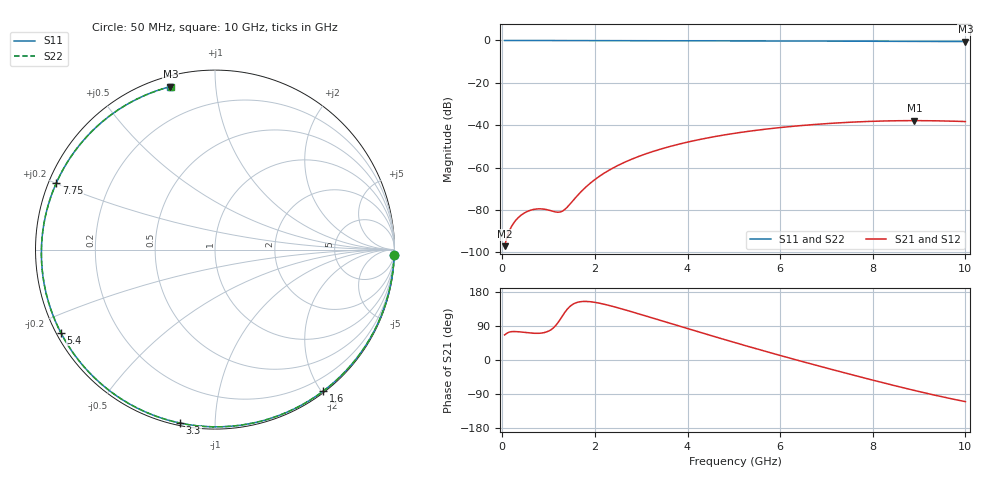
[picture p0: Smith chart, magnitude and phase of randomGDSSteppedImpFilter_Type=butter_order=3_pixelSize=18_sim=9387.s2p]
! freq	dB(S11)	phase(S11)	dB(S12)	phase(S12)
!  dB(S21)	phase(S21)	dB(S22)	phase(S22)
!S-par simulation data
#  GHz  S  DB  R 50
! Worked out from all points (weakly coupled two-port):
!   200 points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, 50 MHz to 10 GHz, reference 50 ohm
!   highest |S21| = -37.82 dB at 8.9 GHz (marker M1); lowest = -97.0 dB at 50 MHz (marker M2)
!   lowest |S11| = -0.5 dB at 10 GHz (marker M3), VSWR 33.05, Z = 2.39 + j38.1 ohm
!   |S11| at or under -10 dB: nowhere
!   |S22| runs from -0.5 to 0.0 dB; largest |S21 - S12| = 0
!   S11 on the Smith chart (normalised r, x): 50 MHz: 2, -70; 1.6 GHz: 0.02, -2.02; 3.3 GHz: 0.01, -0.82; 5.4 GHz: 0.01, -0.25; 7.75 GHz: 0.02, +0.20; 10 GHz: 0.05, +0.76
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0.05  -0.01 -1.6  -97.03 66.2  -97.03 66.2  -0.01 -1.6
0.65  -0.03 -21.9  -79.83 70.8  -79.83 70.8  -0.03 -21.9
0.8  -0.03 -26.9  -79.42 70.5  -79.42 70.5  -0.03 -26.9
1.3  -0.05 -43.2  -80.49 116.6  -80.49 116.6  -0.05 -43.2
1.4  -0.06 -46.4  -78.70 133.7  -78.70 133.7  -0.06 -46.4
1.6  -0.07 -52.6  -73.71 151.3  -73.71 151.3  -0.07 -52.6
1.75  -0.07 -57.3  -70.26 154.5  -70.26 154.5  -0.07 -57.3
2.05  -0.08 -66.4  -64.79 151.0  -64.79 151.0  -0.08 -66.4
2.4  -0.09 -76.7  -60.06 141.0  -60.06 141.0  -0.09 -76.7
2.8  -0.11 -87.9  -55.95 127.1  -55.95 127.1  -0.11 -87.9
3.3  -0.12 -101.4  -52.04 108.8  -52.04 108.8  -0.12 -101.4
3.4  -0.13 -104.0  -51.37 105.1  -51.37 105.1  -0.13 -104.0
4.25  -0.16 -125.2  -46.77 73.8  -46.77 73.8  -0.16 -125.2
5.05  -0.19 -143.8  -43.69 45.0  -43.69 45.0  -0.19 -143.8
5.4  -0.21 -151.7  -42.61 32.6  -42.61 32.6  -0.21 -151.7
6.05  -0.25 -166.0  -40.97 10.3  -40.97 10.3  -0.25 -166.0
6.7  -0.29 180.0  -39.71 -11.4  -39.71 -11.4  -0.29 180.0
7.75  -0.36 157.2  -38.33 -45.3  -38.33 -45.3  -0.36 157.2
8.35  -0.41 143.9  -37.93 -64.0  -37.93 -64.0  -0.41 143.9
8.9  -0.45 131.4  -37.82 -80.4  -37.82 -80.4  -0.45 131.4
9.45  -0.49 118.6  -37.94 -95.8  -37.94 -95.8  -0.49 118.5
10  -0.53 105.3  -38.25 -109.9  -38.25 -109.9  -0.53 105.3
